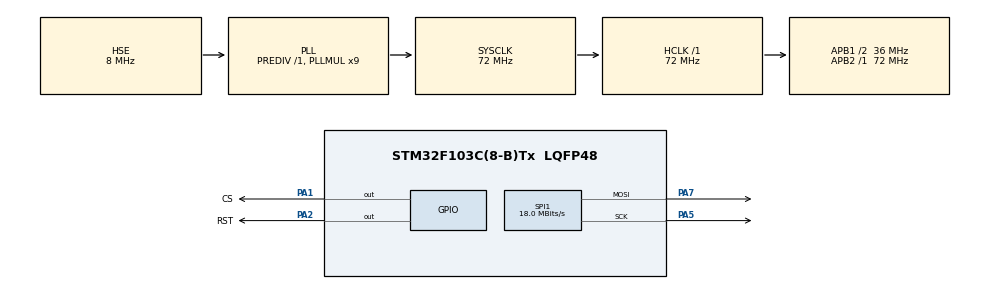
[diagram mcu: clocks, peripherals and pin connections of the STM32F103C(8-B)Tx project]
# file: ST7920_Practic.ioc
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Dma.Request0=SPI1_TX
Dma.SPI1_TX.0.Direction=DMA_MEMORY_TO_PERIPH
Dma.SPI1_TX.0.Instance=DMA1_Channel3
Dma.SPI1_TX.0.MemDataAlignment=DMA_MDATAALIGN_BYTE
Dma.SPI1_TX.0.MemInc=DMA_MINC_ENABLE
Dma.SPI1_TX.0.Mode=DMA_NORMAL
Dma.SPI1_TX.0.PeriphDataAlignment=DMA_PDATAALIGN_BYTE
Dma.SPI1_TX.0.PeriphInc=DMA_PINC_DISABLE
Dma.SPI1_TX.0.Priority=DMA_PRIORITY_LOW
Mcu.Family=STM32F1
Mcu.Name=STM32F103C(8-B)Tx
Mcu.Package=LQFP48
NVIC.DMA1_Channel3_IRQn=true\:0\:0\:false\:false\:true\:false\:true
NVIC.PriorityGroup=NVIC_PRIORITYGROUP_4
NVIC.SPI1_IRQn=true\:0\:0\:false\:false\:true\:true\:true
PA1.GPIO_Label=CS
PA1.Signal=GPIO_Output
PA13.Mode=Serial_Wire
PA13.Signal=SYS_JTMS-SWDIO
PA14.Mode=Serial_Wire
PA14.Signal=SYS_JTCK-SWCLK
PA2.GPIO_Label=RST
PA2.Signal=GPIO_Output
PA5.Mode=TX_Only_Simplex_Unidirect_Master
PA5.Signal=SPI1_SCK
PA7.Mode=TX_Only_Simplex_Unidirect_Master
PA7.Signal=SPI1_MOSI
PD0-OSC_IN.Mode=HSE-External-Oscillator
PD0-OSC_IN.Signal=RCC_OSC_IN
PD1-OSC_OUT.Mode=HSE-External-Oscillator
PD1-OSC_OUT.Signal=RCC_OSC_OUT
ProjectManager.HeapSize=0x200
ProjectManager.StackSize=0x400
ProjectManager.TargetToolchain=STM32CubeIDE
RCC.AHBFreq_Value=72000000
RCC.APB1CLKDivider=RCC_HCLK_DIV2
RCC.APB1Freq_Value=36000000
RCC.APB1TimFreq_Value=72000000
RCC.APB2Freq_Value=72000000
RCC.APB2TimFreq_Value=72000000
RCC.HCLKFreq_Value=72000000
RCC.PLLMUL=RCC_PLL_MUL9
RCC.PLLSourceVirtual=RCC_PLLSOURCE_HSE
RCC.SYSCLKFreq_VALUE=72000000
RCC.SYSCLKSource=RCC_SYSCLKSOURCE_PLLCLK
RCC.USBFreq_Value=72000000
SPI1.BaudRatePrescaler=SPI_BAUDRATEPRESCALER_4
SPI1.CLKPhase=SPI_PHASE_2EDGE
SPI1.CLKPolarity=SPI_POLARITY_HIGH
SPI1.CalculateBaudRate=18.0 MBits/s
SPI1.Direction=SPI_DIRECTION_2LINES
SPI1.Mode=SPI_MODE_MASTER
SPI1.VirtualType=VM_MASTER
board=custom

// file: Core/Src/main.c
/* USER CODE BEGIN Header */
/**
 ******************************************************************************
 * @file           : main.c
 * @brief          : Main program body
 ******************************************************************************
 * @attention
 *
 * <h2><center>&copy; Copyright (c) 2020 STMicroelectronics.
 * All rights reserved.</center></h2>
 *
 * This software component is licensed by ST under BSD 3-Clause license,
 * the "License"; You may not use this file except in compliance with the
 * License. You may obtain a copy of the License at:
 *                        opensource.org/licenses/BSD-3-Clause
 *
 ******************************************************************************
 */
/* USER CODE END Header */
#include "main.h"

/* USER CODE BEGIN Includes */
#include <stdio.h>
#include <stdbool.h>
#include "ST7920_lib.h"

extern char tx_buffer[128]; //Буфер для отправки текста на дисплей
extern uint8_t Frame_buffer[1024]; //Буфер кадра

uint32_t counter = 0;
float counter_float = 0;

unsigned long Time, Time_update;

const unsigned char photo[] = { 0xFF, 0xFF, 0xFF, 0xFF, 0xFF, 0xFF, 0xFF, 0xFF, 0xFF, 0xFF, 0xFF, 0xFF, 0xFB, 0xFF, 0xFF, 0xFF, 0xFD, 0xFD, 0x3D, 0x0F, 0x0F,
		0x07, 0x06, 0x07, 0x06, 0x07, 0x07, 0x07, 0x06, 0x07, 0x07, 0x03, 0x03, 0x03, 0x03, 0x03, 0x03, 0x03, 0x07, 0x07, 0x07, 0x07, 0x0F, 0x0F, 0x07, 0x0F,
		0x0F, 0x0F, 0x0F, 0x0F, 0x0F, 0x07, 0x07, 0x0F, 0x07, 0x07, 0x07, 0x07, 0x07, 0x07, 0x07, 0xF7, 0xFF, 0xFF, 0xFF, 0xFF, 0xFF, 0x7F, 0x1F, 0x0F, 0x07,
		0x03, 0x03, 0x01, 0x01, 0x00, 0x00, 0x00, 0x00, 0x00, 0x00, 0x00, 0x00, 0x00, 0x00, 0x00, 0x00, 0x00, 0x00, 0x00, 0x00, 0x00, 0x00, 0x00, 0x00, 0x02,
		0x8B, 0x87, 0x5B, 0xC2, 0xC7, 0x1F, 0x1F, 0x7F, 0xFF, 0xFF, 0xFF, 0xFF, 0xFF, 0xFF, 0xFF, 0xFF, 0xFE, 0xFE, 0xFC, 0xFC, 0xF8, 0xF0, 0xE0, 0xC0, 0x80,
		0x00, 0x00, 0x00, 0x00, 0x00, 0x00, 0x00, 0xFF, 0xFF, 0xFF, 0xFF, 0xFF, 0xFF, 0xFF, 0xFF, 0xFF, 0xFF, 0xFF, 0xFF, 0xFF, 0xFF, 0xFF, 0xFF, 0xFF, 0xFF,
		0x00, 0x00, 0x00, 0x00, 0x00, 0x00, 0x00, 0x00, 0x00, 0x00, 0x00, 0x00, 0x00, 0x00, 0x00, 0x00, 0x00, 0x00, 0x00, 0x00, 0x00, 0x00, 0x00, 0x00, 0x00,
		0x00, 0x80, 0x00, 0x00, 0x00, 0x80, 0x00, 0x00, 0x00, 0x00, 0x00, 0x00, 0x00, 0x00, 0x00, 0x00, 0x00, 0x00, 0x03, 0x07, 0x0F, 0x7F, 0xFF, 0x81, 0x00,
		0x00, 0x00, 0x00, 0x00, 0x00, 0x00, 0x00, 0x00, 0x80, 0x00, 0x80, 0x80, 0x80, 0xC0, 0x00, 0x60, 0xB0, 0x30, 0x68, 0xCC, 0xEC, 0xFE, 0xFE, 0xE6, 0xE3,
		0xD1, 0xD7, 0xB3, 0x33, 0x67, 0xFE, 0xF9, 0x07, 0x0F, 0x38, 0x04, 0x07, 0x03, 0x03, 0x07, 0x0F, 0xFF, 0xFF, 0xFF, 0xFF, 0xFF, 0xFF, 0xFF, 0xFF, 0xFF,
		0xFF, 0xFF, 0xFF, 0xFE, 0xFC, 0xF8, 0xC0, 0x80, 0x00, 0x0C, 0xFF, 0xFF, 0xFF, 0xFF, 0xFF, 0xFF, 0xFF, 0xFF, 0xFF, 0xFF, 0xFF, 0xFF, 0xFF, 0xFF, 0xFF,
		0xFF, 0xFF, 0xD7, 0x80, 0x80, 0x80, 0x80, 0x80, 0x80, 0x80, 0x80, 0x80, 0x80, 0x80, 0x80, 0xF8, 0xFC, 0xFE, 0xDE, 0x7E, 0x9F, 0x1F, 0x5F, 0x9E, 0x5E,
		0x3C, 0xF8, 0x70, 0x80, 0x80, 0x80, 0x80, 0x80, 0x83, 0x80, 0x81, 0xC2, 0xC2, 0xC0, 0xC1, 0xC1, 0xC1, 0x80, 0x80, 0x82, 0xE6, 0x80, 0xC0, 0xE0, 0xF0,
		0xF9, 0xFF, 0xFC, 0xFC, 0xF6, 0xFE, 0xFE, 0xF5, 0xF0, 0x85, 0xFD, 0xFD, 0xFF, 0xFF, 0xFF, 0x1F, 0x03, 0x03, 0x07, 0x0F, 0x1D, 0x3E, 0x3F, 0x3F, 0x7F,
		0x7F, 0x7F, 0x7F, 0x7F, 0x3F, 0x3F, 0x1F, 0x1F, 0x0F, 0x07, 0x00, 0x00, 0x00, 0x00, 0x00, 0x00, 0x00, 0x80, 0xE0, 0xFF, 0xFF, 0xFF, 0xFF, 0xFF, 0xFF,
		0xFF, 0xFF, 0xFF, 0xFF, 0xFF, 0xFF, 0xFF, 0xFF, 0xFF, 0xFF, 0xFF, 0xFF, 0xFE, 0xFF, 0xFF, 0xE7, 0x59, 0xD9, 0xA5, 0xBD, 0x54, 0x9A, 0x69, 0x93, 0xEF,
		0xDF, 0x3F, 0xFF, 0xFF, 0xFF, 0xFF, 0xFF, 0xFF, 0xFF, 0xFF, 0xFF, 0xFF, 0xFF, 0xFF, 0xFF, 0xFF, 0xFF, 0xFF, 0xE3, 0xDF, 0xAF, 0x02, 0x02, 0x94, 0xDD,
		0xAF, 0xAE, 0xA1, 0xBD, 0xDE, 0xCF, 0xFF, 0xFF, 0xFF, 0xFF, 0xFF, 0xFF, 0xFF, 0xFF, 0xFF, 0xFF, 0xFF, 0xFF, 0x1F, 0x1F, 0x1F, 0x3F, 0x3F, 0xFF, 0xFF,
		0xFF, 0xFF, 0xFF, 0xFF, 0xFF, 0xFF, 0xFF, 0xFF, 0xBF, 0x3F, 0x3F, 0x3E, 0x1C, 0x1F, 0x0F, 0x0F, 0x07, 0x03, 0x00, 0x00, 0x80, 0x80, 0x00, 0x80, 0x80,
		0xC0, 0xF0, 0x60, 0x20, 0x30, 0x20, 0x10, 0x10, 0xF0, 0xF0, 0x20, 0x00, 0x00, 0x00, 0x00, 0x00, 0x00, 0x00, 0x01, 0xFF, 0xFF, 0xFF, 0xFF, 0xFF, 0xFF,
		0xFF, 0xFF, 0xFF, 0xFF, 0xFF, 0xFF, 0xFF, 0xFF, 0xFF, 0xFF, 0xFF, 0xFF, 0xFF, 0xFF, 0xFF, 0xFF, 0xFF, 0xFF, 0xFF, 0xFF, 0x5E, 0x8B, 0x5D, 0x9F, 0x4A,
		0x9F, 0xAE, 0x5B, 0x4D, 0x2B, 0xBE, 0x4D, 0x5B, 0xAF, 0x4F, 0x1F, 0x3F, 0xFF, 0xFF, 0xFF, 0xFF, 0x3F, 0x0F, 0x07, 0x07, 0x07, 0x03, 0x07, 0x24, 0x12,
		0x7C, 0xDF, 0x79, 0xF3, 0xBB, 0xFB, 0xFF, 0xFF, 0xFF, 0xE3, 0xE9, 0xC1, 0x10, 0x7D, 0xBD, 0xBB, 0x1F, 0xAF, 0xDF, 0xBF, 0xBF, 0xFF, 0xFC, 0xF8, 0xFA,
		0xFD, 0xFF, 0xFF, 0xFF, 0xFF, 0x7F, 0x3F, 0xFF, 0xFF, 0xFF, 0xFF, 0xFF, 0xFE, 0xF0, 0xE0, 0x80, 0x80, 0x00, 0x80, 0x08, 0x14, 0x32, 0x11, 0x13, 0x11,
		0x01, 0x01, 0x01, 0x00, 0x00, 0x00, 0x00, 0x00, 0x00, 0x00, 0x01, 0x00, 0x00, 0x00, 0x00, 0x50, 0xE0, 0x69, 0xE6, 0xF8, 0x3E, 0x02, 0x01, 0x07, 0x1F,
		0x1F, 0x3F, 0x7F, 0xFF, 0xFF, 0xFF, 0xFF, 0xFF, 0xFF, 0xFF, 0xFF, 0xFF, 0xFF, 0xFF, 0xFF, 0xFF, 0xFF, 0xFF, 0xFF, 0xFF, 0xFF, 0x3F, 0x42, 0x92, 0x26,
		0xA9, 0x54, 0xDB, 0x20, 0x96, 0x49, 0xA4, 0x9A, 0x43, 0x94, 0x56, 0xA9, 0x20, 0x56, 0x95, 0x68, 0x49, 0x37, 0xE7, 0x00, 0x00, 0x00, 0x00, 0x00, 0x00,
		0x00, 0x00, 0x00, 0x84, 0x91, 0x83, 0xC6, 0x9F, 0xFA, 0x9B, 0xFF, 0x97, 0xFF, 0xE7, 0x88, 0xFC, 0xFF, 0xFD, 0xA6, 0x73, 0x73, 0x79, 0x7E, 0xFF, 0xFF,
		0xFB, 0x7F, 0x3F, 0x1F, 0x0F, 0x83, 0x00, 0xC4, 0xF8, 0xFE, 0xFF, 0xFF, 0xFF, 0xFF, 0xFF, 0xFF, 0xFF, 0xFF, 0xFF, 0xFF, 0xFF, 0xFE, 0xFC, 0xFC, 0xF8,
		0xF8, 0x60, 0xC0, 0x80, 0x80, 0x00, 0x80, 0x82, 0x81, 0xC1, 0xD0, 0xC0, 0xC0, 0xE0, 0xC0, 0x70, 0x70, 0x7C, 0x1E, 0x1E, 0x07, 0x01, 0x00, 0x00, 0x00,
		0x00, 0x00, 0x00, 0x00, 0x00, 0x00, 0xFD, 0xFF, 0xFF, 0xFF, 0xFF, 0xFF, 0xFF, 0xFF, 0xFF, 0xFF, 0xFF, 0xFF, 0xFF, 0xFF, 0xFF, 0xFF, 0xFF, 0xFF, 0xE0,
		0x1A, 0x69, 0x96, 0x49, 0xA6, 0x94, 0x2B, 0xA2, 0x55, 0xD4, 0x26, 0x89, 0x54, 0xA9, 0x56, 0x59, 0xA2, 0x55, 0x1A, 0xA5, 0x5A, 0x8A, 0x77, 0x00, 0x00,
		0x00, 0x00, 0x02, 0x02, 0x07, 0x8F, 0x3F, 0x3B, 0x7A, 0xD5, 0xEB, 0xF7, 0xFB, 0xFC, 0x7F, 0x7D, 0xFF, 0x7E, 0x7F, 0xFF, 0xFE, 0xFF, 0xFF, 0xF0, 0xFC,
		0xFC, 0xFD, 0xBB, 0xBB, 0xF7, 0x77, 0xF2, 0xF6, 0x8F, 0xDF, 0xFF, 0xFF, 0xFF, 0xFF, 0xFF, 0xFF, 0xFF, 0xFF, 0xFF, 0xFF, 0xFF, 0xFF, 0xFF, 0xFF, 0xFF,
		0xFF, 0xFF, 0xFF, 0xFF, 0xF8, 0xD0, 0x50, 0x81, 0x01, 0x01, 0x01, 0x01, 0x01, 0x01, 0x00, 0x01, 0x00, 0x00, 0x00, 0x00, 0x00, 0x00, 0x00, 0x00, 0x00,
		0x00, 0x00, 0x00, 0x00, 0x00, 0x00, 0x00, 0x00, 0x50, 0xFF, 0xFF, 0xFF, 0xFF, 0xFF, 0xFF, 0xFF, 0xFF, 0xFF, 0xFF, 0xFF, 0xFF, 0xFF, 0xFF, 0xFF, 0xFF,
		0xFF, 0xFF, 0xFF, 0xE2, 0x9A, 0x65, 0x6A, 0x95, 0x56, 0xA9, 0x54, 0xA9, 0xB9, 0x42, 0x99, 0x4A, 0x4A, 0x64, 0x9D, 0x41, 0x49, 0x54, 0xA5, 0x11, 0x8A,
		0x66, 0xC0, 0xE4, 0xF0, 0xF0, 0xF8, 0xF8, 0xF9, 0x7C, 0x7C, 0x5C, 0x7C, 0x7E, 0xFF, 0xFF, 0xFF, 0xFE, 0xFE, 0xFF, 0xFF, 0xFF, 0x7F, 0x3F, 0xBE, 0x7F,
		0xFF, 0xFF, 0xFF, 0xFF, 0xFF, 0xFF, 0x7F, 0xFF, 0xDF, 0xF7, 0xFF, 0xF7, 0xFF, 0xFF, 0xFF, 0xFF, 0xFF, 0xFF, 0xFF, 0xFF, 0xFF, 0xFF, 0xFF, 0xFF, 0xFF,
		0xFF, 0xFF, 0xFF, 0xFF, 0xFF, 0xFF, 0xFF, 0xFF, 0xFF, 0xFF, 0xFE, 0xFD, 0xFC, 0xF8, 0xF8, 0xF0, 0xE0, 0xE0, 0xC0, 0x80, 0x00, 0x00, 0x00, 0x00, 0x00,
		0x00, 0x00, 0x00, 0x00, 0x00, 0x00, 0x00, 0x00, 0x00, 0x00, 0x00, 0x15, 0xFF, 0xFF, 0xFF, 0xFF, 0xFF, 0xFF, 0xFF, 0xFF, 0xFF, 0xFF, 0xFF, 0xFF, 0xFF,
		0xFF, 0xFF, 0xFF };

/* USER CODE END Includes */

SPI_HandleTypeDef hspi1;
DMA_HandleTypeDef hdma_spi1_tx;

void SystemClock_Config(void);
static void MX_GPIO_Init(void);
static void MX_DMA_Init(void);
static void MX_SPI1_Init(void);

int main(void) {

	/* MCU Configuration--------------------------------------------------------*/

	/* Reset of all peripherals, Initializes the Flash interface and the Systick. */
	HAL_Init();

	/* Configure the system clock */
	SystemClock_Config();

	/* Initialize all configured peripherals */
	MX_GPIO_Init();
	MX_DMA_Init();
	MX_SPI1_Init();
	/* USER CODE BEGIN 2 */
	HAL_Delay(100);
	ST7920_Init();
	ST7920_Graphic_mode(1);
	ST7920_Draw_triangle_filled(0, 63, 50, 20, 120, 60);
	ST7920_Draw_circle(110, 10, 10);

	ST7920_Update();

	//ST7920_Draw_bitmap(photo);
	//ST7920_logo_demonstration();

	/* USER CODE END 2 */

	/* Infinite loop */
	while (1) {

		/* USER CODE BEGIN 3 */

		/*if (HAL_GetTick() - Time > 5) {
		 Time = HAL_GetTick();
		 counter++;
		 counter_float = counter_float + 3.42115f;
		 sprintf(tx_buffer, "Счетчик_0: %ld °C", counter);
		 ST7920_Decode_UTF8(0, 4, 0, tx_buffer);
		 sprintf(tx_buffer, "Счетчик_1: %.3f", counter_float);
		 ST7920_Decode_UTF8(0, 5, 0, tx_buffer);
		 }

		 if (HAL_GetTick() - Time_update >= 300) {
		 Time_update = HAL_GetTick();
		 ST7920_Update();
		 }*/

	}
	/* USER CODE END 3 */
}

void SystemClock_Config(void) {
	RCC_OscInitTypeDef RCC_OscInitStruct = { 0 };
	RCC_ClkInitTypeDef RCC_ClkInitStruct = { 0 };

	/** Initializes the RCC Oscillators according to the specified parameters
	 * in the RCC_OscInitTypeDef structure.
	 */
	RCC_OscInitStruct.OscillatorType = RCC_OSCILLATORTYPE_HSE;
	RCC_OscInitStruct.HSEState = RCC_HSE_ON;
	RCC_OscInitStruct.HSEPredivValue = RCC_HSE_PREDIV_DIV1;
	RCC_OscInitStruct.HSIState = RCC_HSI_ON;
	RCC_OscInitStruct.PLL.PLLState = RCC_PLL_ON;
	RCC_OscInitStruct.PLL.PLLSource = RCC_PLLSOURCE_HSE;
	RCC_OscInitStruct.PLL.PLLMUL = RCC_PLL_MUL9;
	if (HAL_RCC_OscConfig(&RCC_OscInitStruct) != HAL_OK) {
		Error_Handler();
	}
	/** Initializes the CPU, AHB and APB buses clocks
	 */
	RCC_ClkInitStruct.ClockType = RCC_CLOCKTYPE_HCLK | RCC_CLOCKTYPE_SYSCLK | RCC_CLOCKTYPE_PCLK1 | RCC_CLOCKTYPE_PCLK2;
	RCC_ClkInitStruct.SYSCLKSource = RCC_SYSCLKSOURCE_PLLCLK;
	RCC_ClkInitStruct.AHBCLKDivider = RCC_SYSCLK_DIV1;
	RCC_ClkInitStruct.APB1CLKDivider = RCC_HCLK_DIV2;
	RCC_ClkInitStruct.APB2CLKDivider = RCC_HCLK_DIV1;

	if (HAL_RCC_ClockConfig(&RCC_ClkInitStruct, FLASH_LATENCY_2) != HAL_OK) {
		Error_Handler();
	}
}

static void MX_SPI1_Init(void) {

	/* SPI1 parameter configuration*/
	hspi1.Instance = SPI1;
	hspi1.Init.Mode = SPI_MODE_MASTER;
	hspi1.Init.Direction = SPI_DIRECTION_2LINES;
	hspi1.Init.DataSize = SPI_DATASIZE_8BIT;
	hspi1.Init.CLKPolarity = SPI_POLARITY_HIGH;
	hspi1.Init.CLKPhase = SPI_PHASE_2EDGE;
	hspi1.Init.NSS = SPI_NSS_SOFT;
	hspi1.Init.BaudRatePrescaler = SPI_BAUDRATEPRESCALER_4;
	hspi1.Init.FirstBit = SPI_FIRSTBIT_MSB;
	hspi1.Init.TIMode = SPI_TIMODE_DISABLE;
	hspi1.Init.CRCCalculation = SPI_CRCCALCULATION_DISABLE;
	hspi1.Init.CRCPolynomial = 10;
	if (HAL_SPI_Init(&hspi1) != HAL_OK) {
		Error_Handler();
	}

}

static void MX_DMA_Init(void) {

	/* DMA controller clock enable */
	__HAL_RCC_DMA1_CLK_ENABLE();

	/* DMA interrupt init */
	/* DMA1_Channel3_IRQn interrupt configuration */
	HAL_NVIC_SetPriority(DMA1_Channel3_IRQn, 0, 0);
	HAL_NVIC_EnableIRQ(DMA1_Channel3_IRQn);

}

static void MX_GPIO_Init(void) {
	GPIO_InitTypeDef GPIO_InitStruct = { 0 };

	/* GPIO Ports Clock Enable */
	__HAL_RCC_GPIOD_CLK_ENABLE();
	__HAL_RCC_GPIOA_CLK_ENABLE();

	/*Configure GPIO pin Output Level */
	HAL_GPIO_WritePin(GPIOA, CS_Pin | RST_Pin, GPIO_PIN_RESET);

	/*Configure GPIO pins : CS_Pin RST_Pin */
	GPIO_InitStruct.Pin = CS_Pin | RST_Pin;
	GPIO_InitStruct.Mode = GPIO_MODE_OUTPUT_PP;
	GPIO_InitStruct.Pull = GPIO_NOPULL;
	GPIO_InitStruct.Speed = GPIO_SPEED_FREQ_LOW;
	HAL_GPIO_Init(GPIOA, &GPIO_InitStruct);

}

void Error_Handler(void) {
	__disable_irq();
	while (1) {
	}
}

/************************ (C) COPYRIGHT STMicroelectronics *****END OF FILE****/
